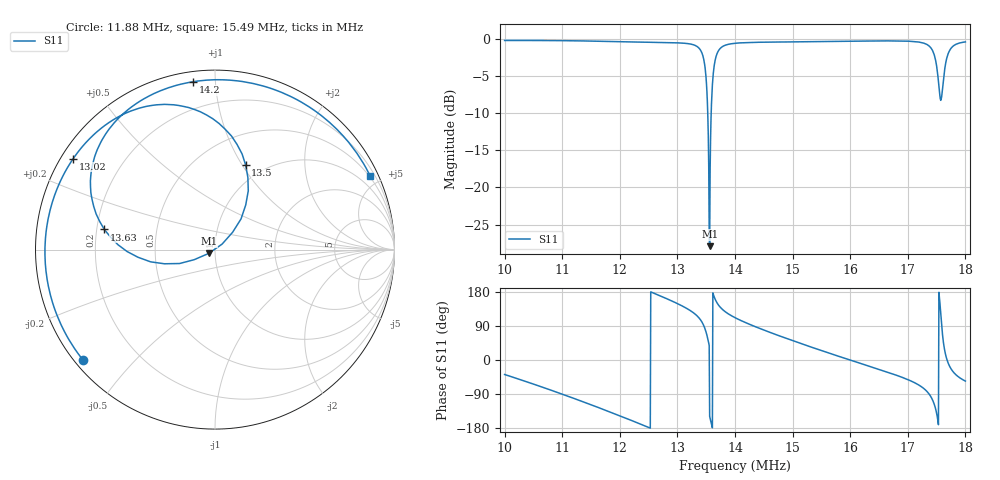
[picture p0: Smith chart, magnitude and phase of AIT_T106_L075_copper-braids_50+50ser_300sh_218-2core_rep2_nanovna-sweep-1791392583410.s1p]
! NanoVNA Web complex sweep
! Processing: unaveraged complex samples; linear segment spacing; no smoothing
# Hz S RI R 50
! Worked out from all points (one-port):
!   1010 points, 10 MHz to 18 MHz, reference 50 ohm
!   lowest |S11| = -27.9 dB at 13.56 MHz (marker M1), VSWR 1.08, Z = 46.6 - j1.96 ohm
!   |S11| at or under -10 dB: 13.52673 MHz to 13.5867 MHz (59.97 kHz wide, 0.442 % of centre)
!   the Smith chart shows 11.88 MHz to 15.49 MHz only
!   S11 on the Smith chart (normalised r, x): 11.88 MHz: 0.02, -0.36; 13.02 MHz: 0.03, +0.29; 13.5 MHz: 0.82, +1.04; 13.63 MHz: 0.23, +0.09; 14.2 MHz: 0.05, +0.88; 15.49 MHz: 0.46, +4.43
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1e7  0.7654 -0.6034
1.100698e7  -0.00889 -0.9717
1.187917e7  -0.7357 -0.6146
1.200604e7  -0.8081 -0.5113
1.252935e7  -0.9475 -0.00397
1.300509e7  -0.8008 0.4907
1.302095e7  -0.7902 0.5067
1.338568e7  -0.2805 0.8092
1.350462e7  0.1712 0.4705
1.35284e7  0.1712 0.2486
1.356012e7  -0.0344 -0.021
1.363148e7  -0.6168 0.1123
1.37742e7  -0.619 0.6284
1.400414e7  -0.341 0.869
1.420237e7  -0.1218 0.9354
1.50032e7  0.5999 0.7407
1.54948e7  0.8662 0.4074
1.600225e7  0.9614 -0.0043
1.700131e7  0.5967 -0.7575
1.724711e7  0.2972 -0.8938
1.740569e7  -0.1224 -0.8559
1.746912e7  -0.3921 -0.646
1.752462e7  -0.5268 -0.1715
1.760391e7  0.1911 0.4221
1.765941e7  0.6741 0.1476
1.771492e7  0.797 -0.184
1.783385e7  0.7166 -0.5725
1.800036e7  0.5379 -0.7868
